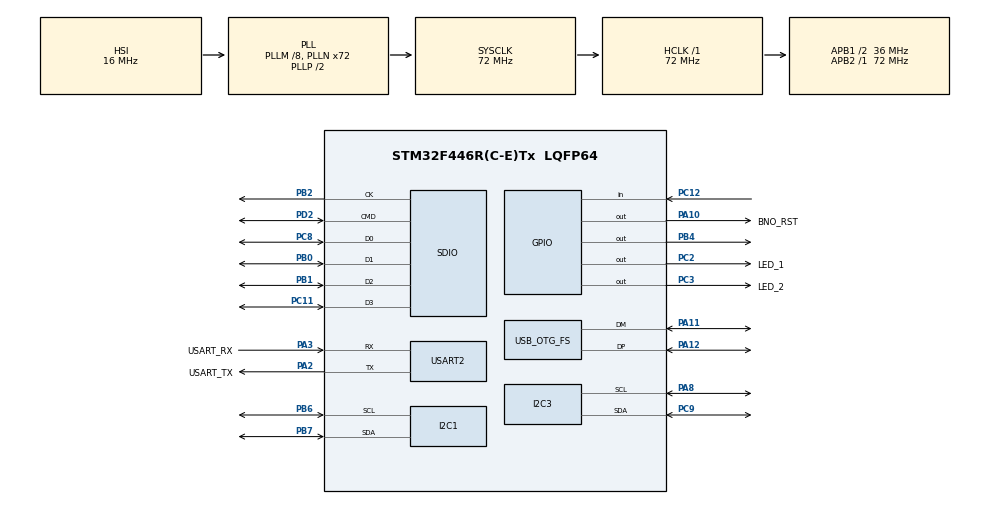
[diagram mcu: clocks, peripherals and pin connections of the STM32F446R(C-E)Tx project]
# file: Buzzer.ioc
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FATFS.BSP.number=1
FATFS._MAX_SS=4096
FATFS0.BSP.STBoard=false
FATFS0.BSP.api=Unknown
FATFS0.BSP.instance=PC12
FATFS0.BSP.ip=GPIO
FATFS0.BSP.mode=Input
FATFS0.BSP.name=Detect_SDIO
FATFS0.BSP.solution=PC12
FREERTOS.Tasks01=defaultTask,0,512,StartDefaultTask,Default,NULL,Dynamic,NULL,NULL;Task1,2,512,StartTask1,Default,NULL,Dynamic,NULL,NULL;USB_Task,-3,512,StartTask03,Default,NULL,Dynamic,NULL,NULL
FREERTOS.configUSE_NEWLIB_REENTRANT=1
Mcu.Family=STM32F4
Mcu.Name=STM32F446R(C-E)Tx
Mcu.Package=LQFP64
NVIC.OTG_FS_IRQn=true\:5\:0\:false\:false\:true\:true\:false\:true\:true
NVIC.PriorityGroup=NVIC_PRIORITYGROUP_4
NVIC.TIM1_UP_TIM10_IRQn=true\:15\:0\:false\:false\:true\:false\:false\:true\:true
NVIC.TimeBase=TIM1_UP_TIM10_IRQn
NVIC.TimeBaseIP=TIM1
PA10.GPIO_Label=BNO_RST
PA10.GPIO_ModeDefaultOutputPP=GPIO_MODE_OUTPUT_PP
PA10.GPIO_PuPd=GPIO_PULLUP
PA10.GPIO_Speed=GPIO_SPEED_FREQ_LOW
PA10.PinState=GPIO_PIN_RESET
PA10.Signal=GPIO_Output
PA11.Mode=Device_Only
PA11.Signal=USB_OTG_FS_DM
PA12.Mode=Device_Only
PA12.Signal=USB_OTG_FS_DP
PA13.GPIO_Label=TMS
PA13.Mode=Serial_Wire
PA13.Signal=SYS_JTMS-SWDIO
PA14.GPIO_Label=TCK
PA14.Mode=Serial_Wire
PA14.Signal=SYS_JTCK-SWCLK
PA2.GPIO_Label=USART_TX
PA2.Mode=Asynchronous
PA2.Signal=USART2_TX
PA3.GPIO_Label=USART_RX
PA3.Mode=Asynchronous
PA3.Signal=USART2_RX
PA8.Mode=I2C
PA8.Signal=I2C3_SCL
PB0.Mode=SD_4_bits_Wide_bus
PB0.Signal=SDIO_D1
PB1.Mode=SD_4_bits_Wide_bus
PB1.Signal=SDIO_D2
PB2.Mode=SD_4_bits_Wide_bus
PB2.Signal=SDIO_CK
PB4.Signal=GPIO_Output
PB6.Mode=I2C
PB6.Signal=I2C1_SCL
PB7.Mode=I2C
PB7.Signal=I2C1_SDA
PC11.Mode=SD_4_bits_Wide_bus
PC11.Signal=SDIO_D3
PC12.Signal=GPIO_Input
PC14-OSC32_IN.Mode=LSE-External-Oscillator
PC14-OSC32_IN.Signal=RCC_OSC32_IN
PC15-OSC32_OUT.Mode=LSE-External-Oscillator
PC15-OSC32_OUT.Signal=RCC_OSC32_OUT
PC2.GPIO_Label=LED_1
PC2.Signal=GPIO_Output
PC3.GPIO_Label=LED_2
PC3.Signal=GPIO_Output
PC8.Mode=SD_4_bits_Wide_bus
PC8.Signal=SDIO_D0
PC9.Mode=I2C
PC9.Signal=I2C3_SDA
PD2.Mode=SD_4_bits_Wide_bus
PD2.Signal=SDIO_CMD
PH0-OSC_IN.Mode=HSE-External-Oscillator
PH0-OSC_IN.Signal=RCC_OSC_IN
PH1-OSC_OUT.Mode=HSE-External-Oscillator
PH1-OSC_OUT.Signal=RCC_OSC_OUT
ProjectManager.HeapSize=0x200
ProjectManager.StackSize=0x400
ProjectManager.TargetToolchain=STM32CubeIDE
RCC.48MHZClocksFreq_Value=84000000
RCC.AHBFreq_Value=72000000
RCC.APB1CLKDivider=RCC_HCLK_DIV2
RCC.APB1Freq_Value=36000000
RCC.APB1TimFreq_Value=72000000
RCC.APB2Freq_Value=72000000
RCC.APB2TimFreq_Value=72000000
RCC.CortexFreq_Value=72000000
RCC.FLatency-AdvancedSettings=FLASH_LATENCY_2
RCC.HCLKFreq_Value=72000000
RCC.HSE_VALUE=8000000
RCC.HSI_VALUE=16000000
RCC.PLLM=8
RCC.PLLN=72
RCC.PLLQ=3
RCC.PLLSource=RCC_PLLSOURCE_HSI
RCC.PLLSourceVirtual=RCC_PLLSOURCE_HSI
RCC.SYSCLKFreq_VALUE=72000000
RCC.SYSCLKSource=RCC_SYSCLKSOURCE_PLLCLK
RCC.USBFreq_Value=48000000
RCC.VCOOutputFreq_Value=144000000
USART2.VirtualMode=VM_ASYNC
USB_DEVICE.CLASS_NAME_FS=CDC
USB_DEVICE.PRODUCT_STRING_CDC_FS=STM32 Virtual Port
USB_DEVICE.VirtualMode-CDC_FS=Cdc
USB_DEVICE.VirtualModeFS=Cdc_FS
USB_OTG_FS.VirtualMode=Device_Only
VP_FATFS_VS_SDIO.Mode=SDIO
VP_FREERTOS_VS_CMSIS_V1.Mode=CMSIS_V1
VP_SYS_VS_tim1.Mode=TIM1
VP_USB_DEVICE_VS_USB_DEVICE_CDC_FS.Mode=CDC_FS
board=NUCLEO-F446RE

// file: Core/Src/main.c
/* USER CODE BEGIN Header */
/**
  ******************************************************************************
  * @file           : main.c
  * @brief          : Main program body
  ******************************************************************************
  * @attention
  *
  * Copyright (c) 2024 STMicroelectronics.
  * All rights reserved.
  *
  * This software is licensed under terms that can be found in the LICENSE file
  * in the root directory of this software component.
  * If no LICENSE file comes with this software, it is provided AS-IS.
  *
  ******************************************************************************
  */
/* USER CODE END Header */
#include "main.h"
#include "cmsis_os.h"
#include "fatfs.h"
#include "i2c.h"
#include "sdio.h"
#include "usart.h"
#include "usb_device.h"
#include "gpio.h"

void SystemClock_Config(void);
void MX_FREERTOS_Init(void);

int main(void)
{

  /* MCU Configuration--------------------------------------------------------*/

  /* Reset of all peripherals, Initializes the Flash interface and the Systick. */
  HAL_Init();

  /* Configure the system clock */
  SystemClock_Config();

  /* Initialize all configured peripherals */
  MX_GPIO_Init();
  MX_USART2_UART_Init();
  MX_I2C1_Init();
  MX_I2C3_Init();
  MX_SDIO_SD_Init();
  MX_FATFS_Init();

  /* Call init function for freertos objects (in freertos.c) */
  MX_FREERTOS_Init();

  /* Start scheduler */
  osKernelStart();
  /* We should never get here as control is now taken by the scheduler */
  /* Infinite loop */
  while (1)
  {

  }
}

void SystemClock_Config(void)
{
  RCC_OscInitTypeDef RCC_OscInitStruct = {0};
  RCC_ClkInitTypeDef RCC_ClkInitStruct = {0};

  /** Configure the main internal regulator output voltage
  */
  __HAL_RCC_PWR_CLK_ENABLE();
  __HAL_PWR_VOLTAGESCALING_CONFIG(PWR_REGULATOR_VOLTAGE_SCALE3);

  /** Initializes the RCC Oscillators according to the specified parameters
  * in the RCC_OscInitTypeDef structure.
  */
  RCC_OscInitStruct.OscillatorType = RCC_OSCILLATORTYPE_HSI;
  RCC_OscInitStruct.HSIState = RCC_HSI_ON;
  RCC_OscInitStruct.HSICalibrationValue = RCC_HSICALIBRATION_DEFAULT;
  RCC_OscInitStruct.PLL.PLLState = RCC_PLL_ON;
  RCC_OscInitStruct.PLL.PLLSource = RCC_PLLSOURCE_HSI;
  RCC_OscInitStruct.PLL.PLLM = 8;
  RCC_OscInitStruct.PLL.PLLN = 72;
  RCC_OscInitStruct.PLL.PLLP = RCC_PLLP_DIV2;
  RCC_OscInitStruct.PLL.PLLQ = 3;
  RCC_OscInitStruct.PLL.PLLR = 2;
  if (HAL_RCC_OscConfig(&RCC_OscInitStruct) != HAL_OK)
  {
    Error_Handler();
  }

  /** Initializes the CPU, AHB and APB buses clocks
  */
  RCC_ClkInitStruct.ClockType = RCC_CLOCKTYPE_HCLK|RCC_CLOCKTYPE_SYSCLK
                              |RCC_CLOCKTYPE_PCLK1|RCC_CLOCKTYPE_PCLK2;
  RCC_ClkInitStruct.SYSCLKSource = RCC_SYSCLKSOURCE_PLLCLK;
  RCC_ClkInitStruct.AHBCLKDivider = RCC_SYSCLK_DIV1;
  RCC_ClkInitStruct.APB1CLKDivider = RCC_HCLK_DIV2;
  RCC_ClkInitStruct.APB2CLKDivider = RCC_HCLK_DIV1;

  if (HAL_RCC_ClockConfig(&RCC_ClkInitStruct, FLASH_LATENCY_2) != HAL_OK)
  {
    Error_Handler();
  }
}

void HAL_TIM_PeriodElapsedCallback(TIM_HandleTypeDef *htim)
{
  if (htim->Instance == TIM1) {
    HAL_IncTick();
  }
}

void Error_Handler(void)
{
  __disable_irq();
  while (1)
  {
  }
}

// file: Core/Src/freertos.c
/* USER CODE BEGIN Header */
/**
  ******************************************************************************
  * File Name          : freertos.c
  * Description        : Code for freertos applications
  ******************************************************************************
  * @attention
  *
  * Copyright (c) 2024 STMicroelectronics.
  * All rights reserved.
  *
  * This software is licensed under terms that can be found in the LICENSE file
  * in the root directory of this software component.
  * If no LICENSE file comes with this software, it is provided AS-IS.
  *
  ******************************************************************************
  */
/* USER CODE END Header */

#include "FreeRTOS.h"
#include "task.h"
#include "main.h"
#include "cmsis_os.h"

/* USER CODE BEGIN Includes */
#include "aku_infra_barometer.h"
#include "aku_infra_imu.h"
#include "aku_infra_data.h"
#include "aku_structure.h"
#include "usbd_cdc_if.h"
#include "string.h"
/* USER CODE END Includes */

/* USER CODE BEGIN Variables */
Altitude* altitude_ptr;
IMU* imu_ptr;
/* USER CODE END Variables */
osThreadId defaultTaskHandle;
osThreadId Task1Handle;
osThreadId USB_TaskHandle;

void StartDefaultTask(void const * argument);
void StartTask1(void const * argument);
void StartTask03(void const * argument);

extern void MX_USB_DEVICE_Init(void);
void MX_FREERTOS_Init(void); /* (MISRA C 2004 rule 8.1) */

/* GetIdleTaskMemory prototype (linked to static allocation support) */
void vApplicationGetIdleTaskMemory( StaticTask_t **ppxIdleTaskTCBBuffer, StackType_t **ppxIdleTaskStackBuffer, uint32_t *pulIdleTaskStackSize );

/* USER CODE BEGIN GET_IDLE_TASK_MEMORY */
static StaticTask_t xIdleTaskTCBBuffer;
static StackType_t xIdleStack[configMINIMAL_STACK_SIZE];

void vApplicationGetIdleTaskMemory( StaticTask_t **ppxIdleTaskTCBBuffer, StackType_t **ppxIdleTaskStackBuffer, uint32_t *pulIdleTaskStackSize )
{
  *ppxIdleTaskTCBBuffer = &xIdleTaskTCBBuffer;
  *ppxIdleTaskStackBuffer = &xIdleStack[0];
  *pulIdleTaskStackSize = configMINIMAL_STACK_SIZE;
  /* place for user code */
}
/* USER CODE END GET_IDLE_TASK_MEMORY */

void MX_FREERTOS_Init(void) {

  /* Create the thread(s) */
  /* definition and creation of defaultTask */
  osThreadDef(defaultTask, StartDefaultTask, osPriorityNormal, 0, 512);
  defaultTaskHandle = osThreadCreate(osThread(defaultTask), NULL);

  /* definition and creation of Task1 */
  osThreadDef(Task1, StartTask1, osPriorityHigh, 0, 512);
  Task1Handle = osThreadCreate(osThread(Task1), NULL);

  /* definition and creation of USB_Task */
  osThreadDef(USB_Task, StartTask03, osPriorityIdle, 0, 512);
  USB_TaskHandle = osThreadCreate(osThread(USB_Task), NULL);

}

void StartDefaultTask(void const * argument)
{
  /* init code for USB_DEVICE */
  MX_USB_DEVICE_Init();
  /* USER CODE BEGIN StartDefaultTask */
  init_Barometer();
  init_IMU();
  /* Infinite loop */
  for(;;)
  {
	  /*HAL_GPIO_WritePin(BNO_RST_GPIO_Port, BNO_RST_Pin, GPIO_PIN_RESET);
	  // osDelay(20);
	  // HAL_GPIO_WritePin(BNO_RST_GPIO_Port, BNO_RST_Pin, GPIO_PIN_SET);
	  // osDelay(20);*/
	  imu_ptr = read_IMU();
	  altitude_ptr = read_Barometer();
    osDelay(1);
  }
  /* USER CODE END StartDefaultTask */
}

void StartTask1(void const * argument)
{
  /* USER CODE BEGIN StartTask1 */
  /* Infinite loop */
  for(;;)
  {
	  //HAL_GPIO_WritePin(GPIOB, GPIO_PIN_4, GPIO_PIN_SET);
	  	  HAL_GPIO_WritePin(GPIOC, GPIO_PIN_3, GPIO_PIN_SET);
	  	  HAL_GPIO_WritePin(GPIOC, GPIO_PIN_2, GPIO_PIN_RESET);
	  	  osDelay(500);
	  	  HAL_GPIO_WritePin(GPIOC, GPIO_PIN_2, GPIO_PIN_SET);
	  	  HAL_GPIO_WritePin(GPIOC, GPIO_PIN_3, GPIO_PIN_RESET);
	  	  osDelay(500);
    osDelay(1);
  }
  /* USER CODE END StartTask1 */
}

void StartTask03(void const * argument)
{
  /* USER CODE BEGIN StartTask03 */
	char* usb_data = "Hello World!!!";
	//init_SD();
  /* Infinite loop */
  for(;;)
  {
	  CDC_Transmit_FS(usb_data, strlen(usb_data));
	 // write_SD();
    osDelay(100);
  }
  /* USER CODE END StartTask03 */
}
